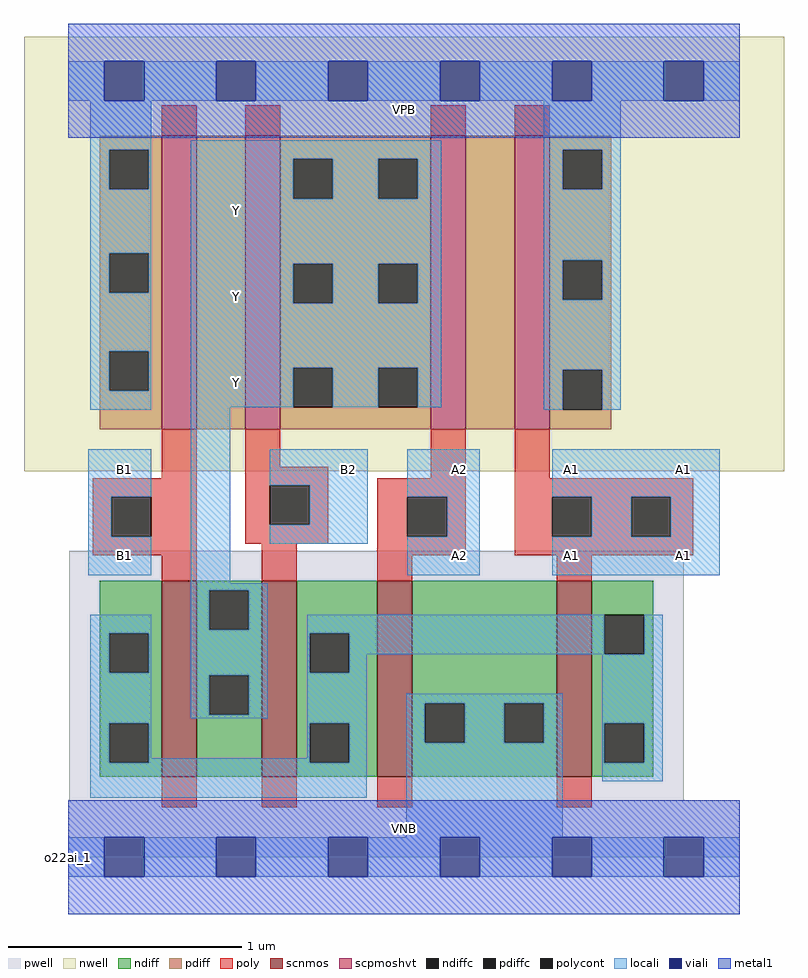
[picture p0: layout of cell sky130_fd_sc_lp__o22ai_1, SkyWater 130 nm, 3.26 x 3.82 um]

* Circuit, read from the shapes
.subckt sky130_fd_sc_lp__o22ai_1 A1 A2 B1 B2 VGND VNB VPB VPWR Y
XM1 Y B1 n1 VNB sky130_fd_pr__nfet_01v8 w=0.84 l=0.15
XM2 n1 B2 Y VNB sky130_fd_pr__nfet_01v8 w=0.84 l=0.15
XM3 VGND A2 n1 VNB sky130_fd_pr__nfet_01v8 w=0.84 l=0.15
XM4 n1 A1 VGND VNB sky130_fd_pr__nfet_01v8 w=0.84 l=0.15
XM5 n2 B1 VPWR VPB sky130_fd_pr__pfet_01v8_hvt w=1.26 l=0.15
XM6 Y B2 n2 VPB sky130_fd_pr__pfet_01v8_hvt w=1.26 l=0.15
XM7 n3 A2 Y VPB sky130_fd_pr__pfet_01v8_hvt w=1.26 l=0.15
XM8 VPWR A1 n3 VPB sky130_fd_pr__pfet_01v8_hvt w=1.26 l=0.15
.ends

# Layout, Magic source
magic
tech sky130A
magscale 1 2
<< nwell >>
rect -38 331 614 704
<< pwell >>
rect 1 49 528 263
rect 0 0 576 49
<< scnmos >>
rect 80 69 110 237
rect 166 69 196 237
rect 265 69 295 237
rect 419 69 449 237
<< scpmoshvt >>
rect 80 367 110 619
rect 152 367 182 619
rect 311 367 341 619
rect 383 367 413 619
<< ndiff >>
rect 27 192 80 237
rect 27 158 35 192
rect 69 158 80 192
rect 27 115 80 158
rect 27 81 35 115
rect 69 81 80 115
rect 27 69 80 81
rect 110 229 166 237
rect 110 195 121 229
rect 155 195 166 229
rect 110 156 166 195
rect 110 122 121 156
rect 155 122 166 156
rect 110 69 166 122
rect 196 192 265 237
rect 196 158 207 192
rect 241 158 265 192
rect 196 115 265 158
rect 196 81 207 115
rect 241 81 265 115
rect 196 69 265 81
rect 295 132 419 237
rect 295 98 306 132
rect 340 98 374 132
rect 408 98 419 132
rect 295 69 419 98
rect 449 208 502 237
rect 449 174 460 208
rect 494 174 502 208
rect 449 115 502 174
rect 449 81 460 115
rect 494 81 502 115
rect 449 69 502 81
<< pdiff >>
rect 27 607 80 619
rect 27 573 35 607
rect 69 573 80 607
rect 27 518 80 573
rect 27 484 35 518
rect 69 484 80 518
rect 27 434 80 484
rect 27 400 35 434
rect 69 400 80 434
rect 27 367 80 400
rect 110 367 152 619
rect 182 599 311 619
rect 182 565 193 599
rect 227 565 266 599
rect 300 565 311 599
rect 182 509 311 565
rect 182 475 193 509
rect 227 475 266 509
rect 300 475 311 509
rect 182 420 311 475
rect 182 386 193 420
rect 227 386 266 420
rect 300 386 311 420
rect 182 367 311 386
rect 341 367 383 619
rect 413 607 466 619
rect 413 573 424 607
rect 458 573 466 607
rect 413 512 466 573
rect 413 478 424 512
rect 458 478 466 512
rect 413 418 466 478
rect 413 384 424 418
rect 458 384 466 418
rect 413 367 466 384
<< ndiffc >>
rect 35 158 69 192
rect 35 81 69 115
rect 121 195 155 229
rect 121 122 155 156
rect 207 158 241 192
rect 207 81 241 115
rect 306 98 340 132
rect 374 98 408 132
rect 460 174 494 208
rect 460 81 494 115
<< pdiffc >>
rect 35 573 69 607
rect 35 484 69 518
rect 35 400 69 434
rect 193 565 227 599
rect 266 565 300 599
rect 193 475 227 509
rect 266 475 300 509
rect 193 386 227 420
rect 266 386 300 420
rect 424 573 458 607
rect 424 478 458 512
rect 424 384 458 418
<< poly >>
rect 80 619 110 645
rect 152 619 182 645
rect 311 619 341 645
rect 383 619 413 645
rect 80 325 110 367
rect 21 309 110 325
rect 21 275 37 309
rect 71 275 110 309
rect 21 259 110 275
rect 152 335 182 367
rect 152 319 223 335
rect 311 325 341 367
rect 152 285 173 319
rect 207 285 223 319
rect 152 269 223 285
rect 265 309 341 325
rect 265 275 291 309
rect 325 275 341 309
rect 80 237 110 259
rect 166 237 196 269
rect 265 259 341 275
rect 383 325 413 367
rect 383 309 536 325
rect 383 275 415 309
rect 449 275 483 309
rect 517 275 536 309
rect 383 259 536 275
rect 265 237 295 259
rect 419 237 449 259
rect 80 43 110 69
rect 166 43 196 69
rect 265 43 295 69
rect 419 43 449 69
<< polycont >>
rect 37 275 71 309
rect 173 285 207 319
rect 291 275 325 309
rect 415 275 449 309
rect 483 275 517 309
<< locali >>
rect 0 649 31 683
rect 65 649 127 683
rect 161 649 223 683
rect 257 649 319 683
rect 353 649 415 683
rect 449 649 511 683
rect 545 649 576 683
rect 19 607 71 649
rect 19 573 35 607
rect 69 573 71 607
rect 19 518 71 573
rect 19 484 35 518
rect 69 484 71 518
rect 19 434 71 484
rect 19 400 35 434
rect 69 400 71 434
rect 19 384 71 400
rect 105 599 320 615
rect 105 565 193 599
rect 227 565 266 599
rect 300 565 320 599
rect 105 509 320 565
rect 105 475 193 509
rect 227 475 266 509
rect 300 475 320 509
rect 105 420 320 475
rect 105 386 193 420
rect 227 386 266 420
rect 300 386 320 420
rect 408 607 474 649
rect 408 573 424 607
rect 458 573 474 607
rect 408 512 474 573
rect 408 478 424 512
rect 458 478 474 512
rect 408 418 474 478
rect 17 309 71 350
rect 17 275 37 309
rect 17 242 71 275
rect 105 235 139 386
rect 408 384 424 418
rect 458 384 474 418
rect 173 319 257 350
rect 207 285 257 319
rect 173 269 257 285
rect 291 309 353 350
rect 325 275 353 309
rect 291 242 353 275
rect 415 309 559 350
rect 449 275 483 309
rect 517 275 559 309
rect 415 242 559 275
rect 105 229 171 235
rect 19 192 71 208
rect 19 158 35 192
rect 69 158 71 192
rect 19 115 71 158
rect 105 195 121 229
rect 155 195 171 229
rect 105 156 171 195
rect 105 122 121 156
rect 155 122 171 156
rect 105 119 171 122
rect 205 192 460 208
rect 205 158 207 192
rect 241 174 460 192
rect 494 174 510 208
rect 241 158 256 174
rect 19 81 35 115
rect 69 85 71 115
rect 205 115 256 158
rect 205 85 207 115
rect 69 81 207 85
rect 241 81 256 115
rect 19 51 256 81
rect 290 132 424 140
rect 290 98 306 132
rect 340 98 374 132
rect 408 98 424 132
rect 290 17 424 98
rect 458 115 510 174
rect 458 81 460 115
rect 494 81 510 115
rect 458 65 510 81
rect 0 -17 31 17
rect 65 -17 127 17
rect 161 -17 223 17
rect 257 -17 319 17
rect 353 -17 415 17
rect 449 -17 511 17
rect 545 -17 576 17
<< viali >>
rect 31 649 65 683
rect 127 649 161 683
rect 223 649 257 683
rect 319 649 353 683
rect 415 649 449 683
rect 511 649 545 683
rect 31 -17 65 17
rect 127 -17 161 17
rect 223 -17 257 17
rect 319 -17 353 17
rect 415 -17 449 17
rect 511 -17 545 17
<< metal1 >>
rect 0 683 576 715
rect 0 649 31 683
rect 65 649 127 683
rect 161 649 223 683
rect 257 649 319 683
rect 353 649 415 683
rect 449 649 511 683
rect 545 649 576 683
rect 0 617 576 649
rect 0 17 576 49
rect 0 -17 31 17
rect 65 -17 127 17
rect 161 -17 223 17
rect 257 -17 319 17
rect 353 -17 415 17
rect 449 -17 511 17
rect 545 -17 576 17
rect 0 -49 576 -17
<< labels >>
flabel pwell s 0 0 576 49 0 FreeSans 200 0 0 0 VNB
port 6 nsew ground bidirectional
flabel nwell s 0 617 576 666 0 FreeSans 200 0 0 0 VPB
port 7 nsew power bidirectional
rlabel comment s 0 0 0 0 4 o22ai_1
flabel metal1 s 0 617 576 666 0 FreeSans 340 0 0 0 VPWR
port 8 nsew power bidirectional
flabel metal1 s 0 0 576 49 0 FreeSans 340 0 0 0 VGND
port 5 nsew ground bidirectional
flabel locali s 415 242 449 276 0 FreeSans 340 0 0 0 A1
port 1 nsew signal input
flabel locali s 415 316 449 350 0 FreeSans 340 0 0 0 A1
port 1 nsew signal input
flabel locali s 511 316 545 350 0 FreeSans 340 0 0 0 A1
port 1 nsew signal input
flabel locali s 511 242 545 276 0 FreeSans 340 0 0 0 A1
port 1 nsew signal input
flabel locali s 319 242 353 276 0 FreeSans 340 0 0 0 A2
port 2 nsew signal input
flabel locali s 319 316 353 350 0 FreeSans 340 0 0 0 A2
port 2 nsew signal input
flabel locali s 127 390 161 424 0 FreeSans 340 0 0 0 Y
port 9 nsew signal output
flabel locali s 127 464 161 498 0 FreeSans 340 0 0 0 Y
port 9 nsew signal output
flabel locali s 127 538 161 572 0 FreeSans 340 0 0 0 Y
port 9 nsew signal output
flabel locali s 31 242 65 276 0 FreeSans 340 0 0 0 B1
port 3 nsew signal input
flabel locali s 31 316 65 350 0 FreeSans 340 0 0 0 B1
port 3 nsew signal input
flabel locali s 223 316 257 350 0 FreeSans 340 0 0 0 B2
port 4 nsew signal input
<< properties >>
string LEFsite unit
string LEFclass CORE
string FIXED_BBOX 0 0 576 666
string GDS_FILE $PDKPATH/libs.ref/sky130_fd_sc_lp/gds/sky130_fd_sc_lp.gds
string LEFsymmetry X Y R90
string GDS_END 1304454
string GDS_START 1297952
<< end >>
